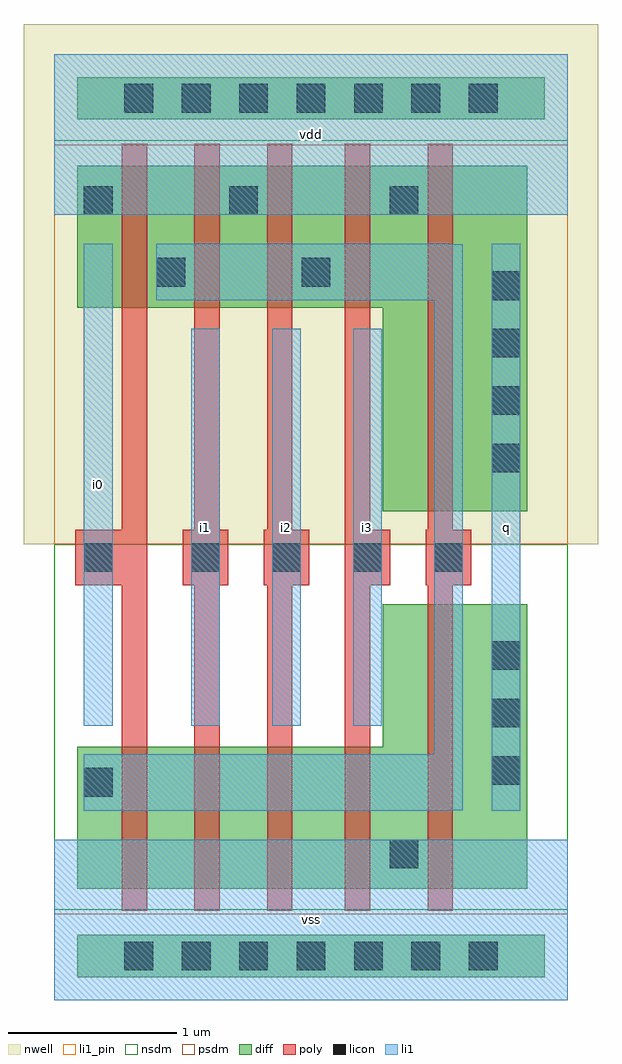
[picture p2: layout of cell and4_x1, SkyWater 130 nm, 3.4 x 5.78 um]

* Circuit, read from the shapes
.subckt and4_x1 i0 i1 i2 i3 q vdd vss
XM1 n1 i0 n2 VSUBS sky130_fd_pr__nfet_01v8 w=0.84 l=0.15
XM2 n3 i1 n1 VSUBS sky130_fd_pr__nfet_01v8 w=0.84 l=0.15
XM3 n4 i2 n3 VSUBS sky130_fd_pr__nfet_01v8 w=0.84 l=0.15
XM4 vss i3 n4 VSUBS sky130_fd_pr__nfet_01v8 w=0.84 l=0.15
XM5 q n2 vss VSUBS sky130_fd_pr__nfet_01v8 w=1.685 l=0.15
XM6 n2 i0 vdd n5 sky130_fd_pr__pfet_01v8 w=0.84 l=0.15
XM7 vdd i1 n2 n5 sky130_fd_pr__pfet_01v8 w=0.84 l=0.15
XM8 n2 i2 vdd n5 sky130_fd_pr__pfet_01v8 w=0.84 l=0.15
XM9 vdd i3 n2 n5 sky130_fd_pr__pfet_01v8 w=0.84 l=0.15
XM10 q n2 vdd n5 sky130_fd_pr__pfet_01v8 w=2.045 l=0.15
.ends

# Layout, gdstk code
import gdstk
lib = gdstk.Library(unit=1e-6, precision=1e-09)
def R(c, l, rs):  # rectangles x0, y0, x1, y1
    for r in rs: c.add(gdstk.rectangle(r[:2], r[2:], *l))
def A(c, l, x, y, w, h, nx, ny, dx, dy):  # array of equal rectangles
    R(c, l, [(x+i*dx, y+j*dy, x+i*dx+w, y+j*dy+h) for i in range(nx) for j in range(ny)])
def P(c, l, *ps):  # polygons
    for p in ps: c.add(gdstk.Polygon(p, *l))
nwell = (64, 20)
diff = (65, 20)
poly = (66, 20)
licon = (66, 44)
li1_pin = (67, 16)
li1 = (67, 20)
nsdm = (93, 44)
psdm = (94, 20)

and4_x1 = lib.new_cell('and4_x1')
R(and4_x1, nwell, [(-0.18,2.7,3.22,5.78)])
R(and4_x1, diff, [(0.135,0.135,2.905,0.385), (0.135,5.215,2.905,5.465)])
P(and4_x1, diff, [(0.135,0.66),(0.135,1.5),(1.945,1.5),(1.945,2.345),(2.8,2.345),(2.8,0.66)],
  [(1.945,2.895),(1.945,4.1),(0.135,4.1),(0.135,4.94),(2.8,4.94),(2.8,2.895)])
P(and4_x1, poly, [(2.21,0.53),(2.21,2.455),(2.2,2.455),(2.2,2.785),(2.21,2.785),(2.21,5.07),(2.36,5.07),(2.36,2.785),(2.47,2.785),(2.47,2.455),(2.36,2.455),(2.36,0.53)],
  [(0.4,0.53),(0.4,2.455),(0.125,2.455),(0.125,2.785),(0.4,2.785),(0.4,5.07),(0.55,5.07),(0.55,0.53)],
  [(0.83,0.53),(0.83,2.455),(0.76,2.455),(0.76,2.785),(0.83,2.785),(0.83,5.07),(0.98,5.07),(0.98,2.785),(1.03,2.785),(1.03,2.455),(0.98,2.455),(0.98,0.53)],
  [(1.26,0.53),(1.26,2.455),(1.24,2.455),(1.24,2.785),(1.26,2.785),(1.26,5.07),(1.41,5.07),(1.41,2.785),(1.51,2.785),(1.51,2.455),(1.41,2.455),(1.41,0.53)],
  [(1.72,0.53),(1.72,5.07),(1.87,5.07),(1.87,2.785),(1.99,2.785),(1.99,2.455),(1.87,2.455),(1.87,0.53)])
A(and4_x1, licon, 0.415, 0.175, 0.17, 0.17, 7, 2, 0.34, 5.08)
A(and4_x1, licon, 2.59, 1.275, 0.17, 0.17, 1, 3, 0, 0.34)
A(and4_x1, licon, 0.81, 2.535, 0.17, 0.17, 4, 1, 0.48, 0)
A(and4_x1, licon, 2.59, 3.125, 0.17, 0.17, 1, 4, 0, 0.34)
R(and4_x1, licon, [(1.985,0.78,2.155,0.95), (0.175,1.205,0.345,1.375), (0.175,2.535,0.345,2.705), (0.605,4.225,0.775,4.395), (1.465,4.225,1.635,4.395), (0.175,4.65,0.345,4.82), (1.035,4.65,1.205,4.82), (1.985,4.65,2.155,4.82)])
A(and4_x1, li1_pin, 0.81, 1.625, 0.17, 2.35, 3, 1, 0.48, 0)
R(and4_x1, li1_pin, [(0,0,3.04,0.95), (2.59,1.12,2.76,4.48), (0.175,1.625,0.345,4.48), (0,4.65,3.04,5.6)])
A(and4_x1, li1, 0.81, 1.625, 0.17, 2.35, 3, 1, 0.48, 0)
R(and4_x1, li1, [(0,0,3.04,0.95), (2.59,1.12,2.76,4.48), (0.175,1.625,0.345,4.48), (0,4.65,3.04,5.6)])
P(and4_x1, li1, [(0.175,1.12),(0.175,1.455),(2.25,1.455),(2.25,4.145),(0.605,4.145),(0.605,4.48),(2.335,4.48),(2.335,4.475),(2.42,4.475),(2.42,1.125),(2.335,1.125),(2.335,1.12)])
R(and4_x1, nsdm, [(0,0.535,3.04,2.7), (0,5.09,3.04,5.6)])
R(and4_x1, psdm, [(0,0,3.04,0.51), (0,2.7,3.04,5.065)])
and4_x1.add(gdstk.Label('vdd', (1.52,5.125), layer=67, texttype=16))
and4_x1.add(gdstk.Label('vss', (1.52,0.475), layer=67, texttype=16))
and4_x1.add(gdstk.Label('i0', (0.26,3.052), layer=67, texttype=16))
and4_x1.add(gdstk.Label('i1', (0.895,2.8), layer=67, texttype=16))
and4_x1.add(gdstk.Label('i2', (1.375,2.8), layer=67, texttype=16))
and4_x1.add(gdstk.Label('i3', (1.855,2.8), layer=67, texttype=16))
and4_x1.add(gdstk.Label('q', (2.675,2.8), layer=67, texttype=16))

lib.write_gds('and4_x1.gds')
